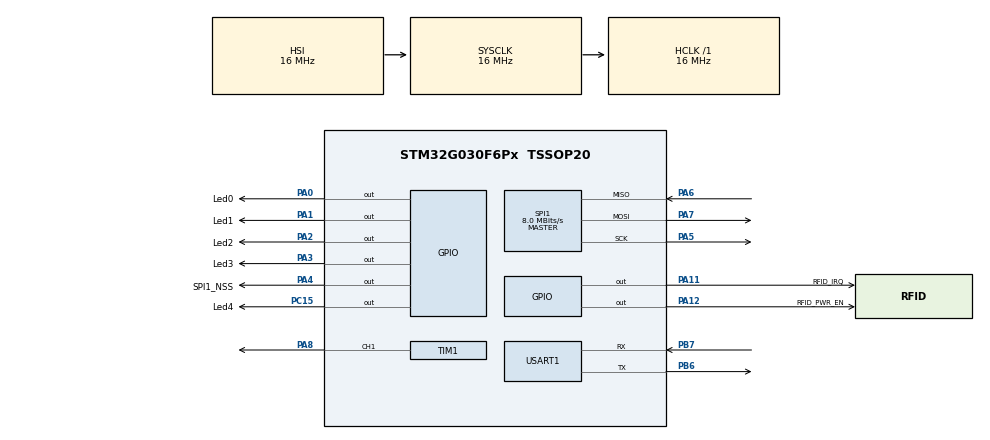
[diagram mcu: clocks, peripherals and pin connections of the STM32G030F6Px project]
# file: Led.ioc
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Dma.Request0=USART1_RX
Dma.Request1=SPI1_RX
Dma.Request2=SPI1_TX
Dma.SPI1_RX.1.Direction=DMA_PERIPH_TO_MEMORY
Dma.SPI1_RX.1.EventEnable=DISABLE
Dma.SPI1_RX.1.Instance=DMA1_Channel2
Dma.SPI1_RX.1.MemDataAlignment=DMA_MDATAALIGN_BYTE
Dma.SPI1_RX.1.MemInc=DMA_MINC_ENABLE
Dma.SPI1_RX.1.Mode=DMA_CIRCULAR
Dma.SPI1_RX.1.PeriphDataAlignment=DMA_PDATAALIGN_BYTE
Dma.SPI1_RX.1.PeriphInc=DMA_PINC_DISABLE
Dma.SPI1_RX.1.Polarity=HAL_DMAMUX_REQ_GEN_RISING
Dma.SPI1_RX.1.Priority=DMA_PRIORITY_HIGH
Dma.SPI1_RX.1.RequestNumber=1
Dma.SPI1_RX.1.SignalID=NONE
Dma.SPI1_RX.1.SyncEnable=DISABLE
Dma.SPI1_RX.1.SyncPolarity=HAL_DMAMUX_SYNC_NO_EVENT
Dma.SPI1_RX.1.SyncRequestNumber=1
Dma.SPI1_RX.1.SyncSignalID=NONE
Dma.SPI1_TX.2.Direction=DMA_MEMORY_TO_PERIPH
Dma.SPI1_TX.2.EventEnable=DISABLE
Dma.SPI1_TX.2.Instance=DMA1_Channel3
Dma.SPI1_TX.2.MemDataAlignment=DMA_MDATAALIGN_BYTE
Dma.SPI1_TX.2.MemInc=DMA_MINC_ENABLE
Dma.SPI1_TX.2.Mode=DMA_CIRCULAR
Dma.SPI1_TX.2.PeriphDataAlignment=DMA_PDATAALIGN_BYTE
Dma.SPI1_TX.2.PeriphInc=DMA_PINC_DISABLE
Dma.SPI1_TX.2.Polarity=HAL_DMAMUX_REQ_GEN_RISING
Dma.SPI1_TX.2.Priority=DMA_PRIORITY_HIGH
Dma.SPI1_TX.2.RequestNumber=1
Dma.SPI1_TX.2.SignalID=NONE
Dma.SPI1_TX.2.SyncEnable=DISABLE
Dma.SPI1_TX.2.SyncPolarity=HAL_DMAMUX_SYNC_NO_EVENT
Dma.SPI1_TX.2.SyncRequestNumber=1
Dma.SPI1_TX.2.SyncSignalID=NONE
Dma.USART1_RX.0.Direction=DMA_PERIPH_TO_MEMORY
Dma.USART1_RX.0.EventEnable=DISABLE
Dma.USART1_RX.0.Instance=DMA1_Channel1
Dma.USART1_RX.0.MemDataAlignment=DMA_MDATAALIGN_BYTE
Dma.USART1_RX.0.MemInc=DMA_MINC_ENABLE
Dma.USART1_RX.0.Mode=DMA_CIRCULAR
Dma.USART1_RX.0.PeriphDataAlignment=DMA_PDATAALIGN_BYTE
Dma.USART1_RX.0.PeriphInc=DMA_PINC_DISABLE
Dma.USART1_RX.0.Polarity=HAL_DMAMUX_REQ_GEN_RISING
Dma.USART1_RX.0.Priority=DMA_PRIORITY_LOW
Dma.USART1_RX.0.RequestNumber=1
Dma.USART1_RX.0.SignalID=NONE
Dma.USART1_RX.0.SyncEnable=DISABLE
Dma.USART1_RX.0.SyncPolarity=HAL_DMAMUX_SYNC_NO_EVENT
Dma.USART1_RX.0.SyncRequestNumber=1
Dma.USART1_RX.0.SyncSignalID=NONE
Mcu.Family=STM32G0
Mcu.Name=STM32G030F6Px
Mcu.Package=TSSOP20
NVIC.DMA1_Channel1_IRQn=true\:0\:0\:false\:false\:true\:false\:true\:true
NVIC.DMA1_Channel2_3_IRQn=true\:0\:0\:false\:false\:true\:false\:true\:true
NVIC.USART1_IRQn=true\:0\:0\:false\:false\:true\:true\:true\:true
PA0.GPIO_Label=Led0
PA0.Signal=GPIO_Output
PA1.GPIO_Label=Led1
PA1.Signal=GPIO_Output
PA11\ [PA9].GPIO_Label=RFID_IRQ
PA11\ [PA9].Signal=GPIO_Output
PA12\ [PA10].GPIO_Label=RFID_PWR_EN
PA12\ [PA10].Signal=GPIO_Output
PA13.Mode=Serial_Wire
PA13.Signal=SYS_SWDIO
PA14-BOOT0.Mode=Serial_Wire
PA14-BOOT0.Signal=SYS_SWCLK
PA14-BOOT0__PA15.StandardMode=true
PA2.GPIO_Label=Led2
PA2.Signal=GPIO_Output
PA3.GPIO_Label=Led3
PA3.Signal=GPIO_Output
PA4.GPIO_Label=SPI1_NSS
PA4.PinState=GPIO_PIN_SET
PA4.Signal=GPIO_Output
PA5.Mode=Full_Duplex_Master
PA5.Signal=SPI1_SCK
PA6.Mode=Full_Duplex_Master
PA6.Signal=SPI1_MISO
PA7.Mode=Full_Duplex_Master
PA7.Signal=SPI1_MOSI
PA8.Signal=S_TIM1_CH1
PB0__PB1__PB2__PA8.StandardMode=true
PB3__PB4__PB5__PB6.StandardMode=true
PB6.Mode=Asynchronous
PB6.Signal=USART1_TX
PB7.Mode=Asynchronous
PB7.Signal=USART1_RX
PB7__PB8.StandardMode=true
PC14-OSC32_IN\ (PC14)__PB9.StandardMode=true
PC15-OSC32_OUT\ (PC15).GPIO_Label=Led4
PC15-OSC32_OUT\ (PC15).Signal=GPIO_Output
ProjectManager.HeapSize=0x200
ProjectManager.StackSize=0x400
ProjectManager.TargetToolchain=MDK-ARM V5.32
RCC.AHBFreq_Value=16000000
RCC.CortexFreq_Value=16000000
RCC.EXTERNAL_CLOCK_VALUE=12288000
RCC.HCLKFreq_Value=16000000
RCC.HSE_VALUE=8000000
RCC.HSI_VALUE=16000000
RCC.LSE_VALUE=32768
RCC.SYSCLKFreq_VALUE=16000000
RCC.VCOOutputFreq_Value=128000000
SH.S_TIM1_CH1.0=TIM1_CH1,Output Compare1 CH1
SPI1.CalculateBaudRate=8.0 MBits/s
SPI1.Direction=SPI_DIRECTION_2LINES
SPI1.Mode=SPI_MODE_MASTER
SPI1.VirtualType=VM_MASTER
TIM1.Channel-Output\ Compare1\ CH1=TIM_CHANNEL_1
USART1.VirtualMode-Asynchronous=VM_ASYNC
VP_TIM1_VS_ClockSourceINT.Mode=Internal
board=custom

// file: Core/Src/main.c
/* USER CODE BEGIN Header */
/**
  ******************************************************************************
  * @file           : main.c
  * @brief          : Main program body
  ******************************************************************************
  * @attention
  *
  * Copyright (c) 2026 STMicroelectronics.
  * All rights reserved.
  *
  * This software is licensed under terms that can be found in the LICENSE file
  * in the root directory of this software component.
  * If no LICENSE file comes with this software, it is provided AS-IS.
  *
  ******************************************************************************
  */
/* USER CODE END Header */
#include "main.h"
#include "string.h"
#include "stdio.h"
#include "drv_cr95hf.h"
/* USER CODE BEGIN Includes */
uint8_t RxChar;
uint8_t u8_RxData;
uint8_t u8_TxBuff[] = "Hello hello!!\r\n";

uint8_t icVer;
uint8_t *chipIdnResponse;
uint8_t *resp;
uint16_t nbTag;
uint8_t uid[8];
uint8_t *data;
uint16_t len;

uint32_t ret;

uint8_t *sysInfo;
uint16_t sysLen;
SPI_HandleTypeDef *hspi_nfc_reader;

extern SPI_HandleTypeDef hspi1;
extern UART_HandleTypeDef huart1;

uint8_t allData[28 * 4];
uint8_t blockData[4];

#define UART_RX_MAX    128

char uartCmd[UART_RX_MAX];
volatile uint16_t uartIndex = 0;
volatile uint8_t uartReady = 0;
/* USER CODE END Includes */

SPI_HandleTypeDef hspi1;
DMA_HandleTypeDef hdma_spi1_rx;
DMA_HandleTypeDef hdma_spi1_tx;

TIM_HandleTypeDef htim1;

UART_HandleTypeDef huart1;
DMA_HandleTypeDef hdma_usart1_rx;

void SystemClock_Config(void);
static void MX_GPIO_Init(void);
static void MX_DMA_Init(void);
static void MX_TIM1_Init(void);
static void MX_USART1_UART_Init(void);
static void MX_SPI1_Init(void);

/* USER CODE BEGIN 0 */
void pwm_set_duty(TIM_HandleTypeDef *htim, uint32_t Channel, uint8_t duty)
{
	uint32_t ccr;
	if(duty >90)
	{
		duty = 90;
	}
	ccr = ((htim->Instance->ARR + 1)*duty)/100;
	__HAL_TIM_SET_COMPARE(htim, Channel, ccr);
}

/* USER CODE END 0 */

int main(void)
{

  /* MCU Configuration--------------------------------------------------------*/

  /* Reset of all peripherals, Initializes the Flash interface and the Systick. */
  HAL_Init();

  /* Configure the system clock */
  SystemClock_Config();

  /* Initialize all configured peripherals */
  MX_GPIO_Init();
  MX_DMA_Init();
  MX_TIM1_Init();
  MX_USART1_UART_Init();
  MX_SPI1_Init();
  /* USER CODE BEGIN 2 */
	// Giao tiep UART
	/* HAL_UART_Transmit(&huart1, u8_TxBuff, sizeof(u8_TxBuff)-1, 100);*/
	HAL_UART_Receive_IT(&huart1, &RxChar, 1);

	//Read ID IC RC95HF
	char msg[256];
	uint32_t ret;

	hspi_nfc_reader = &hspi1;

	HAL_GPIO_WritePin(RFID_PWR_EN_GPIO_Port,	RFID_PWR_EN_Pin,	GPIO_PIN_SET);

	HAL_Delay(100);

	HAL_GPIO_WritePin(SPI1_NSS_GPIO_Port,	SPI1_NSS_Pin,GPIO_PIN_SET);

	//Led On
		GPIO_TypeDef* Led_Port[] = {Led0_GPIO_Port, Led1_GPIO_Port, Led2_GPIO_Port, Led3_GPIO_Port, Led4_GPIO_Port};
		uint16_t Led_Pin[] = {Led0_Pin, Led1_Pin, Led2_Pin, Led3_Pin, Led4_Pin};

		for(int i = 0; i < 5; i++)
		{
				HAL_GPIO_WritePin(Led_Port[i], Led_Pin[i], GPIO_PIN_RESET);
		}
		HAL_Delay(500);

		// Led off
		for(int i = 0; i < 5; i++)
		{
				HAL_GPIO_WritePin(Led_Port[i], Led_Pin[i], GPIO_PIN_SET);
		}
		HAL_Delay(500);

		// Nhay led
		for(int i = 0; i < 5; i++)
		{
				HAL_GPIO_WritePin(Led_Port[i], Led_Pin[i], GPIO_PIN_RESET);
				HAL_Delay(500);
				HAL_GPIO_WritePin(Led_Port[i], Led_Pin[i], GPIO_PIN_SET);
		}

		// Buzzer PWM1
		HAL_TIM_PWM_Start(&htim1, TIM_CHANNEL_1);

    pwm_set_duty(&htim1, TIM_CHANNEL_1, 20);
    HAL_Delay(1000);

    pwm_set_duty(&htim1, TIM_CHANNEL_1, 0);
    HAL_Delay(1000);

		//UART
		/*HAL_UART_Transmit(&huart1, u8_TxBuff, sizeof(u8_TxBuff)-1, 100);
    HAL_Delay(1000);*/

	sprintf(msg,"\r\n===== CR95HF TEST =====\r\n");
	HAL_UART_Transmit(&huart1,(uint8_t*)msg,strlen(msg),1000);

	ret = CR95HF_PORsequence();
	sprintf(msg,"POR ret = %lu\r\n",ret);
	HAL_UART_Transmit(&huart1,(uint8_t*)msg,strlen(msg),1000);

	/* TEST HWINIT */
	ret = CR95HF_HWInit(&icVer,&resp);

	sprintf(msg,"HWInit ret = %lu\r\n",ret);
	HAL_UART_Transmit(&huart1,(uint8_t*)msg,strlen(msg),1000);

	if(ret == 0)
	{
			sprintf(msg,"IC Version = 0x%02X\r\n",icVer);
			HAL_UART_Transmit(&huart1,(uint8_t*)msg,strlen(msg),1000);

			sprintf(msg,"IDN Response : ");
			HAL_UART_Transmit(&huart1,(uint8_t*)msg,strlen(msg),1000);

			for(uint8_t i=0;i<(resp[1]+2);i++)
			{
					sprintf(msg,"%02X ",resp[i]);
					HAL_UART_Transmit(&huart1,(uint8_t*)msg,strlen(msg),1000);
			}

			sprintf(msg,"\r\n");
			HAL_UART_Transmit(&huart1,(uint8_t*)msg,strlen(msg),1000);
	}
	else
	{
			sprintf(msg,"CR95HF INIT FAILED\r\n");
			HAL_UART_Transmit(&huart1,(uint8_t*)msg,strlen(msg),1000);
	}

	// chon giao thuc
	if(CR95HF_SelectProtocol_ISO15693(0x0D, &resp) == 0)
	{
			sprintf(msg,"ISO15693 Selected\r\n");
			HAL_UART_Transmit(&huart1,(uint8_t*)msg,strlen(msg),1000);
	}
	else
	{
			sprintf(msg,"ISO15693 Select Failed\r\n");
			HAL_UART_Transmit(&huart1,(uint8_t*)msg,strlen(msg),1000);
	}

	 /* Setup all protocol */
  /* Setup all protocol */

  /* USER CODE END 2 */

  /* Infinite loop */
  /* USER CODE BEGIN WHILE */

  while(1)
	{

			//Chờ thẻ

			do
			{
					ret = CR95HF_GetUID(uid);
					HAL_Delay(100);

			} while(ret != 0);

			//Có thẻ -> đọc UID + dữ liệu
			sprintf(msg,
							"\r\nUID: %02X%02X%02X%02X%02X%02X%02X%02X\r\n",
							uid[7],uid[6],uid[5],uid[4],
							uid[3],uid[2],uid[1],uid[0]);

			HAL_UART_Transmit(&huart1,
												(uint8_t*)msg,
												strlen(msg),
												1000);

			//Get Info Card
			ret = CR95HF_GetCardSystemInfo(&sysInfo,&sysLen);

			if(ret == 0)
			{
					sprintf(msg,"\r\nSystemInfo: ");
					HAL_UART_Transmit(&huart1,(uint8_t*)msg,strlen(msg),1000);
					for(uint16_t i=0;i<(sysLen+2);i++)
					{
							sprintf(msg,"%02X ",sysInfo[i]);
							HAL_UART_Transmit(&huart1,(uint8_t*)msg,strlen(msg),1000);
					}

					sprintf(msg,"\r\n");
					HAL_UART_Transmit(&huart1,(uint8_t*)msg,	strlen(msg),1000);
			}
			else
			{
					sprintf(msg,"GetSystemInfo Error=%lu\r\n",ret);

					HAL_UART_Transmit(&huart1,(uint8_t*)msg,strlen(msg), 1000);
			}

			//READ ALL BLOCKS

			memset(allData,0,sizeof(allData));

			for(uint8_t block=0; block<28; block++)
			{
					ret = CR95HF_ReadSingleBlock(block, blockData);

					if(ret == 0)
					{
							memcpy(&allData[block*4],blockData, 4);
					}
					else
					{
							memset(&allData[block*4], 0xFF, 4);
					}
			}

			//HEX DUMP
			sprintf(msg,"\r\n== HEX DUMP ==\r\n");
			HAL_UART_Transmit(&huart1,(uint8_t*)msg,strlen(msg),1000);

			for(uint16_t i=0;i<112;i++)
			{
					sprintf(msg,"%02X ",allData[i]);

					HAL_UART_Transmit(&huart1,(uint8_t*)msg,strlen(msg),1000);
					if(((i+1)%16)==0)
					{
							sprintf(msg,"\r\n");
							HAL_UART_Transmit(&huart1,(uint8_t*)msg,strlen(msg),1000);
					}
			}

			//ASCII
			sprintf(msg,"\r\n== ASCII ==\r\n");
			HAL_UART_Transmit(&huart1,(uint8_t*)msg,strlen(msg),1000);

			for(uint16_t i=0;i<112;i++)
			{
					char c = allData[i];

					if(c >= 32 && c <= 126)
					{
							HAL_UART_Transmit(&huart1,(uint8_t*)&c,1,	1000);
					}
					else
					{
							c='.';
							HAL_UART_Transmit(&huart1,(uint8_t*)&c,1,1000);
					}
			}

			sprintf(msg,"\r\n");
			HAL_UART_Transmit(&huart1,(uint8_t*)msg,strlen(msg),1000);

			//BLOCK DUMP

			sprintf(msg,"\r\n== BLOCK DUMP ==\r\n");
			HAL_UART_Transmit(&huart1,(uint8_t*)msg, strlen(msg), 1000);

			for(uint8_t block=0; block<28; block++)
			{
					sprintf(msg,
									"Block %02d : %02X %02X %02X %02X\r\n",
									block,
									allData[block*4],
									allData[block*4+1],
									allData[block*4+2],
									allData[block*4+3]);

					HAL_UART_Transmit(&huart1,(uint8_t*)msg,strlen(msg),1000);
			}

			/* Đọc 28 block */
			for(uint8_t block = 0; block < 28; block++)
			{
					ret = CR95HF_ReadSingleBlock(block, blockData);

					if(ret == 0)
					{
							memcpy(&allData[block * 4], blockData, 4);
					}
					else
					{
							memset(&allData[block * 4], 0x00, 4);
					}
			}

			// Write data
			uartIndex = 0;
			uartReady = 0;

			sprintf(msg,
							"\r\nNhap chuoi can ghi");

			HAL_UART_Transmit(&huart1, (uint8_t*)msg, strlen(msg),1000);

			while(!uartReady)
			{
					HAL_Delay(20);
			}

			// Start Write Tag
			sprintf(msg,"\r\nDang ghi: %s\r\n", uartCmd);
			HAL_UART_Transmit(&huart1,(uint8_t*)msg,	strlen(msg),1000);

			ret = CR95HF_ClearBlocks(0, 15);
			sprintf(msg,"CLEAR =%lu\r\n",ret);

			HAL_UART_Transmit(&huart1,(uint8_t*)msg, strlen(msg), 1000);
			HAL_Delay(50);

			ret = CR95HF_WriteString(0, uartCmd);

			sprintf(msg,
							"WRITE RET=%lu\r\n",
							ret);

			HAL_UART_Transmit(&huart1,(uint8_t*)msg,strlen(msg),1000);

			if(ret == 0)
			{
					sprintf(msg,
									"== GHI THANH CONG ==\r\n");

					HAL_UART_Transmit(&huart1,(uint8_t*)msg,strlen(msg),1000);

					HAL_Delay(100);

					/* Đọc lại dữ liệu */
					memset(allData,0,sizeof(allData));

					for(uint8_t block=0; block<28; block++)
					{
							ret = CR95HF_ReadSingleBlock(block, blockData);

							if(ret != 0)
							{
									break;
							}

							memcpy(&allData[block*4],blockData, 4);
					}

					/* HEX DUMP */
					sprintf(msg,"\r\n== VERIFY HEX ==\r\n");
					HAL_UART_Transmit(&huart1,(uint8_t*)msg,strlen(msg),1000);

					for(uint16_t i=0;i<112;i++)
					{
							sprintf(msg,"%02X ",allData[i]);

							HAL_UART_Transmit(&huart1,(uint8_t*)msg,strlen(msg),1000);

							if((i+1)%16==0)
							{
									sprintf(msg,"\r\n");

									HAL_UART_Transmit(&huart1, (uint8_t*)msg, strlen(msg),1000);
							}
					}

					/* ASCII */
					sprintf(msg,"\r\n== VERIFY ASCII ==\r\n");
					HAL_UART_Transmit(&huart1, (uint8_t*)msg, strlen(msg), 1000);

					for(uint16_t i=0;i<112;i++)
					{
							if(allData[i] == 0x00)
									break;

							HAL_UART_Transmit(&huart1, &allData[i], 1, 1000);
					}

					sprintf(msg,"\r\n");
					HAL_UART_Transmit(&huart1, (uint8_t*)msg, strlen(msg), 1000);
			}
			else
			{
					sprintf(msg,
									"===== GHI THAT BAI =====\r\n");

					HAL_UART_Transmit(&huart1, (uint8_t*)msg, strlen(msg), 1000);
			}

			// Done
			sprintf(msg,
							"Hay nhac the ra...\r\n");

			HAL_UART_Transmit(&huart1, (uint8_t*)msg, strlen(msg),1000);

			while(CR95HF_GetUID(uid) == 0)
			{
					HAL_Delay(100);
			}
	}

  /* USER CODE END 3 */
}

 /* USER CODE BEGIN 4 */

/**
  * @brief TIM1 Initialization Function
  * @param None
  * @retval None
  */

void HAL_UART_RxCpltCallback(UART_HandleTypeDef *huart)
{
    if(huart->Instance == USART1)
    {
        if((RxChar == '\r') || (RxChar == '\n'))
        {
            uartCmd[uartIndex] = 0;
            uartReady = 1;
        }
        else
        {
            if(uartIndex < UART_RX_MAX - 1)
            {
                uartCmd[uartIndex++] = RxChar;
            }
        }

        HAL_UART_Receive_IT(&huart1, &RxChar, 1);
    }
}
 /* USER CODE END 4 */
void SystemClock_Config(void)
{
  RCC_OscInitTypeDef RCC_OscInitStruct = {0};
  RCC_ClkInitTypeDef RCC_ClkInitStruct = {0};

  /** Configure the main internal regulator output voltage
  */
  HAL_PWREx_ControlVoltageScaling(PWR_REGULATOR_VOLTAGE_SCALE1);

  /** Initializes the RCC Oscillators according to the specified parameters
  * in the RCC_OscInitTypeDef structure.
  */
  RCC_OscInitStruct.OscillatorType = RCC_OSCILLATORTYPE_HSI;
  RCC_OscInitStruct.HSIState = RCC_HSI_ON;
  RCC_OscInitStruct.HSIDiv = RCC_HSI_DIV1;
  RCC_OscInitStruct.HSICalibrationValue = RCC_HSICALIBRATION_DEFAULT;
  RCC_OscInitStruct.PLL.PLLState = RCC_PLL_NONE;
  if (HAL_RCC_OscConfig(&RCC_OscInitStruct) != HAL_OK)
  {
    Error_Handler();
  }

  /** Initializes the CPU, AHB and APB buses clocks
  */
  RCC_ClkInitStruct.ClockType = RCC_CLOCKTYPE_HCLK|RCC_CLOCKTYPE_SYSCLK
                              |RCC_CLOCKTYPE_PCLK1;
  RCC_ClkInitStruct.SYSCLKSource = RCC_SYSCLKSOURCE_HSI;
  RCC_ClkInitStruct.AHBCLKDivider = RCC_SYSCLK_DIV1;
  RCC_ClkInitStruct.APB1CLKDivider = RCC_HCLK_DIV1;

  if (HAL_RCC_ClockConfig(&RCC_ClkInitStruct, FLASH_LATENCY_0) != HAL_OK)
  {
    Error_Handler();
  }
}

static void MX_SPI1_Init(void)
{

  /* SPI1 parameter configuration*/
  hspi1.Instance = SPI1;
  hspi1.Init.Mode = SPI_MODE_MASTER;
  hspi1.Init.Direction = SPI_DIRECTION_2LINES;
  hspi1.Init.DataSize = SPI_DATASIZE_8BIT;
  hspi1.Init.CLKPolarity = SPI_POLARITY_LOW;
  hspi1.Init.CLKPhase = SPI_PHASE_1EDGE;
  hspi1.Init.NSS = SPI_NSS_SOFT;
  hspi1.Init.BaudRatePrescaler = SPI_BAUDRATEPRESCALER_32;
  hspi1.Init.FirstBit = SPI_FIRSTBIT_MSB;
  hspi1.Init.TIMode = SPI_TIMODE_DISABLE;
  hspi1.Init.CRCCalculation = SPI_CRCCALCULATION_DISABLE;
  hspi1.Init.CRCPolynomial = 7;
  hspi1.Init.CRCLength = SPI_CRC_LENGTH_DATASIZE;
  hspi1.Init.NSSPMode = SPI_NSS_PULSE_ENABLE;
  if (HAL_SPI_Init(&hspi1) != HAL_OK)
  {
    Error_Handler();
  }

}

static void MX_TIM1_Init(void)
{

  TIM_ClockConfigTypeDef sClockSourceConfig = {0};
  TIM_MasterConfigTypeDef sMasterConfig = {0};
  TIM_OC_InitTypeDef sConfigOC = {0};
  TIM_BreakDeadTimeConfigTypeDef sBreakDeadTimeConfig = {0};

  htim1.Instance = TIM1;
  htim1.Init.Prescaler = 15;
  htim1.Init.CounterMode = TIM_COUNTERMODE_UP;
  htim1.Init.Period = 499;
  htim1.Init.ClockDivision = TIM_CLOCKDIVISION_DIV1;
  htim1.Init.RepetitionCounter = 0;
  htim1.Init.AutoReloadPreload = TIM_AUTORELOAD_PRELOAD_DISABLE;
  if (HAL_TIM_Base_Init(&htim1) != HAL_OK)
  {
    Error_Handler();
  }
  sClockSourceConfig.ClockSource = TIM_CLOCKSOURCE_INTERNAL;
  if (HAL_TIM_ConfigClockSource(&htim1, &sClockSourceConfig) != HAL_OK)
  {
    Error_Handler();
  }
  if (HAL_TIM_OC_Init(&htim1) != HAL_OK)
  {
    Error_Handler();
  }
  sMasterConfig.MasterOutputTrigger = TIM_TRGO_RESET;
  sMasterConfig.MasterOutputTrigger2 = TIM_TRGO2_RESET;
  sMasterConfig.MasterSlaveMode = TIM_MASTERSLAVEMODE_DISABLE;
  if (HAL_TIMEx_MasterConfigSynchronization(&htim1, &sMasterConfig) != HAL_OK)
  {
    Error_Handler();
  }
  sConfigOC.OCMode = TIM_OCMODE_TIMING;
  sConfigOC.Pulse = 0;
  sConfigOC.OCPolarity = TIM_OCPOLARITY_HIGH;
  sConfigOC.OCNPolarity = TIM_OCNPOLARITY_HIGH;
  sConfigOC.OCFastMode = TIM_OCFAST_DISABLE;
  sConfigOC.OCIdleState = TIM_OCIDLESTATE_RESET;
  sConfigOC.OCNIdleState = TIM_OCNIDLESTATE_RESET;
  if (HAL_TIM_OC_ConfigChannel(&htim1, &sConfigOC, TIM_CHANNEL_1) != HAL_OK)
  {
    Error_Handler();
  }
  sBreakDeadTimeConfig.OffStateRunMode = TIM_OSSR_DISABLE;
  sBreakDeadTimeConfig.OffStateIDLEMode = TIM_OSSI_DISABLE;
  sBreakDeadTimeConfig.LockLevel = TIM_LOCKLEVEL_OFF;
  sBreakDeadTimeConfig.DeadTime = 0;
  sBreakDeadTimeConfig.BreakState = TIM_BREAK_DISABLE;
  sBreakDeadTimeConfig.BreakPolarity = TIM_BREAKPOLARITY_HIGH;
  sBreakDeadTimeConfig.BreakFilter = 0;
  sBreakDeadTimeConfig.BreakAFMode = TIM_BREAK_AFMODE_INPUT;
  sBreakDeadTimeConfig.Break2State = TIM_BREAK2_DISABLE;
  sBreakDeadTimeConfig.Break2Polarity = TIM_BREAK2POLARITY_HIGH;
  sBreakDeadTimeConfig.Break2Filter = 0;
  sBreakDeadTimeConfig.Break2AFMode = TIM_BREAK_AFMODE_INPUT;
  sBreakDeadTimeConfig.AutomaticOutput = TIM_AUTOMATICOUTPUT_DISABLE;
  if (HAL_TIMEx_ConfigBreakDeadTime(&htim1, &sBreakDeadTimeConfig) != HAL_OK)
  {
    Error_Handler();
  }
  HAL_TIM_MspPostInit(&htim1);

}

static void MX_USART1_UART_Init(void)
{

  huart1.Instance = USART1;
  huart1.Init.BaudRate = 115200;
  huart1.Init.WordLength = UART_WORDLENGTH_8B;
  huart1.Init.StopBits = UART_STOPBITS_1;
  huart1.Init.Parity = UART_PARITY_NONE;
  huart1.Init.Mode = UART_MODE_TX_RX;
  huart1.Init.HwFlowCtl = UART_HWCONTROL_NONE;
  huart1.Init.OverSampling = UART_OVERSAMPLING_16;
  huart1.Init.OneBitSampling = UART_ONE_BIT_SAMPLE_DISABLE;
  huart1.Init.ClockPrescaler = UART_PRESCALER_DIV1;
  huart1.AdvancedInit.AdvFeatureInit = UART_ADVFEATURE_NO_INIT;
  if (HAL_UART_Init(&huart1) != HAL_OK)
  {
    Error_Handler();
  }
  if (HAL_UARTEx_SetTxFifoThreshold(&huart1, UART_TXFIFO_THRESHOLD_1_8) != HAL_OK)
  {
    Error_Handler();
  }
  if (HAL_UARTEx_SetRxFifoThreshold(&huart1, UART_RXFIFO_THRESHOLD_1_8) != HAL_OK)
  {
    Error_Handler();
  }
  if (HAL_UARTEx_DisableFifoMode(&huart1) != HAL_OK)
  {
    Error_Handler();
  }

}

static void MX_DMA_Init(void)
{

  /* DMA controller clock enable */
  __HAL_RCC_DMA1_CLK_ENABLE();

  /* DMA interrupt init */
  /* DMA1_Channel1_IRQn interrupt configuration */
  HAL_NVIC_SetPriority(DMA1_Channel1_IRQn, 0, 0);
  HAL_NVIC_EnableIRQ(DMA1_Channel1_IRQn);
  /* DMA1_Channel2_3_IRQn interrupt configuration */
  HAL_NVIC_SetPriority(DMA1_Channel2_3_IRQn, 0, 0);
  HAL_NVIC_EnableIRQ(DMA1_Channel2_3_IRQn);

}

static void MX_GPIO_Init(void)
{
  GPIO_InitTypeDef GPIO_InitStruct = {0};

  /* GPIO Ports Clock Enable */
  __HAL_RCC_GPIOB_CLK_ENABLE();
  __HAL_RCC_GPIOC_CLK_ENABLE();
  __HAL_RCC_GPIOA_CLK_ENABLE();

  /*Configure GPIO pin Output Level */
  HAL_GPIO_WritePin(Led4_GPIO_Port, Led4_Pin, GPIO_PIN_RESET);

  /*Configure GPIO pin Output Level */
  HAL_GPIO_WritePin(GPIOA, Led0_Pin|Led1_Pin|Led2_Pin|Led3_Pin
                          |RFID_IRQ_Pin|RFID_PWR_EN_Pin, GPIO_PIN_RESET);

  /*Configure GPIO pin Output Level */
  HAL_GPIO_WritePin(SPI1_NSS_GPIO_Port, SPI1_NSS_Pin, GPIO_PIN_SET);

  /*Configure GPIO pin : Led4_Pin */
  GPIO_InitStruct.Pin = Led4_Pin;
  GPIO_InitStruct.Mode = GPIO_MODE_OUTPUT_PP;
  GPIO_InitStruct.Pull = GPIO_NOPULL;
  GPIO_InitStruct.Speed = GPIO_SPEED_FREQ_LOW;
  HAL_GPIO_Init(Led4_GPIO_Port, &GPIO_InitStruct);

  /*Configure GPIO pins : Led0_Pin Led1_Pin Led2_Pin Led3_Pin
                           SPI1_NSS_Pin RFID_IRQ_Pin RFID_PWR_EN_Pin */
  GPIO_InitStruct.Pin = Led0_Pin|Led1_Pin|Led2_Pin|Led3_Pin
                          |SPI1_NSS_Pin|RFID_IRQ_Pin|RFID_PWR_EN_Pin;
  GPIO_InitStruct.Mode = GPIO_MODE_OUTPUT_PP;
  GPIO_InitStruct.Pull = GPIO_NOPULL;
  GPIO_InitStruct.Speed = GPIO_SPEED_FREQ_LOW;
  HAL_GPIO_Init(GPIOA, &GPIO_InitStruct);

}

void Error_Handler(void)
{
  __disable_irq();
  while (1)
  {
  }
}
